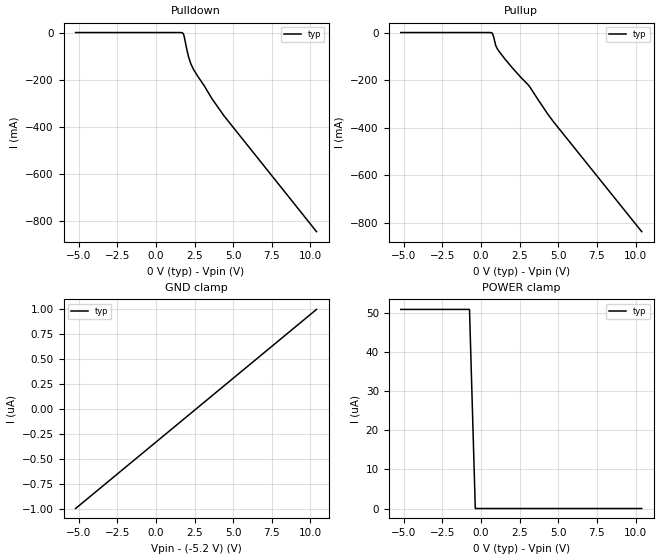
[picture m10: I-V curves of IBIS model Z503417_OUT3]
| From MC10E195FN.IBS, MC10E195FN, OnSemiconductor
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| (C) COPYRIGHT 1993-2000
| MENTOR GRAPHICS CORPORATION
| ICX STANDARD LIBRARY, ICX PROJECT MODELING,
| ICX CUSTOM MODELING, ICX VENDOR MODEL
| ALL RIGHTS RESERVED.
| THE FOLLOWING ARE TRADEMARKS OR SERVICE MARKS OF
| MENTOR GRAPHICS CORPORATION:ICX (R), ICX STANDARD
| LIBRARY(R), ICX PROJECT MODELING(R), ICX CUSTOM
| MODELING(R), qualityIBIS(TM), MODELVIEWER(TM),
| AND MODELEDITOR(TM)
| ALL COPIES OF SOFTWARE, INCLUDING BUT NOT LIMITED TO
| ANY MODIFICATIONS, ENHANCEMENTS OR DERIVATIVE WORKS,
| MUST CONTAIN ALL MENTOR GRAPHICS CORPORATION'S
| NOTICES AND LEGENDS, INCLUDING THOSE EMBEDDED IN
| SOFTWARE AND THOSE AFFIXED TO SOFTWARE MEDIUM
| AND CONTAINER, AS RECEIVED FROM MENTOR GRAPHICS
| CORPORATION.
| Model Application Version 1.89 2/18/99.
[Model] Z503417_OUT3
Model_type Output_ECL
Vref=-2.000V
Rref=50.00ohms
Cref=0.000F
Vmeas=-1.305V
C_comp 8.000pF NA NA
| variable typ   min   max
[Voltage Range] -5.200V NA NA
[POWER Clamp Reference] 0.000V NA NA
[Pullup Reference] 0.000V NA NA
[Pulldown Reference] 0.000V NA NA
[GND Clamp Reference] -5.200V NA NA
[GND Clamp]
-5.2V     -1uA       NA         NA
10.4V     1uA        NA         NA
[Pulldown]
-5.2V     218.8uA    NA         NA
1.743V    -2.26mA    NA         NA
1.83V     -15.73mA   NA         NA
1.991V    -68.39mA   NA         NA
2.129V    -106.1mA   NA         NA
2.26V     -132.1mA   NA         NA
2.432V    -155.9mA   NA         NA
3.12V     -224.5mA   NA         NA
3.618V    -279.4mA   NA         NA
4.414V    -353.6mA   NA         NA
10.4V     -844.8mA   NA         NA
[Pullup]
-5.2V     162.4uA    NA         NA
590.3mV   98.72uA    NA         NA
727.6mV   -3.236mA   NA         NA
810.4mV   -17.35mA   NA         NA
947.8mV   -54.05mA   NA         NA
1.143V    -77.1mA    NA         NA
2.021V    -148.2mA   NA         NA
3.135V    -226.3mA   NA         NA
4.322V    -343.2mA   NA         NA
4.668V    -373.5mA   NA         NA
10.4V     -837.2mA   NA         NA
[POWER Clamp]
-5.2V     50.9uA     NA         NA
-749mV    50.9uA     NA         NA
-374.5mV  0A         NA         NA
10.4V     0A         NA         NA
[Ramp]
| variable typ min max
dV/dt_r 561.0m/374.6p NA NA
dV/dt_f 561.0m/332.3p NA NA
R_load = 50.00Ohms
